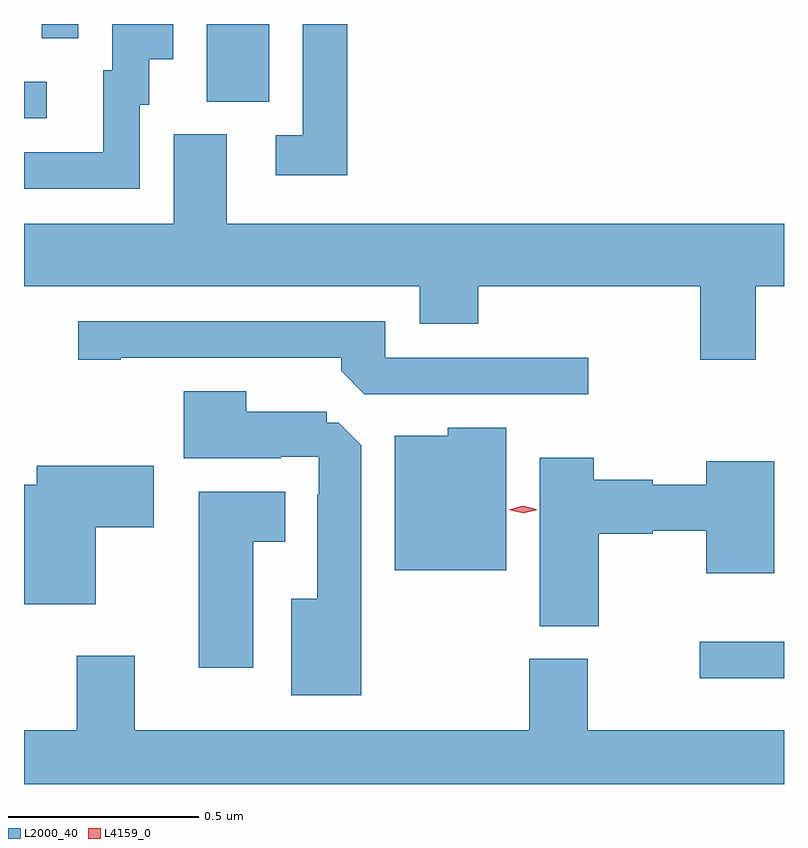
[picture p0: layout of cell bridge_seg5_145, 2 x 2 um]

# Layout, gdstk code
import gdstk
lib = gdstk.Library(unit=1e-6, precision=1e-09)
def R(c, l, rs):  # rectangles x0, y0, x1, y1
    for r in rs: c.add(gdstk.rectangle(r[:2], r[2:], *l))
def P(c, l, *ps):  # polygons
    for p in ps: c.add(gdstk.Polygon(p, *l))
L2000_40 = (2000, 40)
L4159_0 = (4159, 0)

bridge_seg5_145 = lib.new_cell('bridge_seg5_145')
R(bridge_seg5_145, L2000_40, [(162.219,890.36,162.441,890.457), (160.441,891.834,160.501,891.93), (160.922,891.877,161.086,892.082), (160.488,892.044,160.584,892.082)])
P(bridge_seg5_145, L2000_40, [(160.746,891.87),(160.771,891.87),(160.771,891.989),(160.834,891.989),(160.834,892.082),(160.673,892.082),(160.673,891.96),(160.649,891.96),(160.649,891.744),(160.441,891.744),(160.441,891.648),(160.746,891.648)],
  [(161.291,892.082),(161.175,892.082),(161.175,891.789),(161.103,891.789),(161.103,891.684),(161.291,891.684)],
  [(162.367,891.392),(162.441,891.392),(162.441,891.556),(160.975,891.556),(160.975,891.792),(160.835,891.792),(160.835,891.556),(160.441,891.556),(160.441,891.392),(161.483,891.392),(161.483,891.293),(161.636,891.293),(161.636,891.392),(162.22,891.392),(162.22,891.198),(162.367,891.198)],
  [(161.926,891.204),(161.391,891.204),(161.391,891.3),(160.584,891.3),(160.584,891.199),(160.696,891.199),(160.696,891.204),(161.276,891.204),(161.276,891.17),(161.337,891.108),(161.926,891.108)],
  [(161.329,890.973),(161.269,891.033),(161.238,891.033),(161.238,891.061),(161.026,891.061),(161.026,891.115),(160.862,891.115),(160.862,890.939),(161.117,890.939),(161.117,890.943),(161.217,890.943),(161.217,890.843),(161.213,890.843),(161.213,890.569),(161.144,890.569),(161.144,890.315),(161.329,890.315)],
  [(161.71,891.019),(161.556,891.019),(161.556,890.998),(161.417,890.998),(161.417,890.645),(161.71,890.645)],
  [(161.953,890.74),(162.095,890.74),(162.095,890.748),(162.236,890.748),(162.236,890.636),(162.415,890.636),(162.415,890.932),(162.236,890.932),(162.236,890.869),(162.095,890.869),(162.095,890.883),(161.94,890.883),(161.94,890.941),(161.798,890.941),(161.798,890.497),(161.953,890.497)],
  [(160.63,890.758),(160.783,890.758),(160.783,890.92),(160.475,890.92),(160.475,890.869),(160.441,890.869),(160.441,890.555),(160.63,890.555)],
  [(161.044,890.72),(161.128,890.72),(161.128,890.851),(160.901,890.851),(160.901,890.388),(161.044,890.388)],
  [(162.441,890.224),(161.925,890.224),(161.925,890.412),(161.77,890.412),(161.77,890.224),(160.732,890.224),(160.732,890.419),(160.58,890.419),(160.58,890.224),(160.441,890.224),(160.441,890.082),(162.441,890.082)])
P(bridge_seg5_145, L4159_0, [(161.755,890.794),(161.717,890.804),(161.717,890.804),(161.717,890.804),(161.755,890.814),(161.793,890.804),(161.793,890.804),(161.793,890.804)])

lib.write_gds('bridge_seg5_145.gds')
